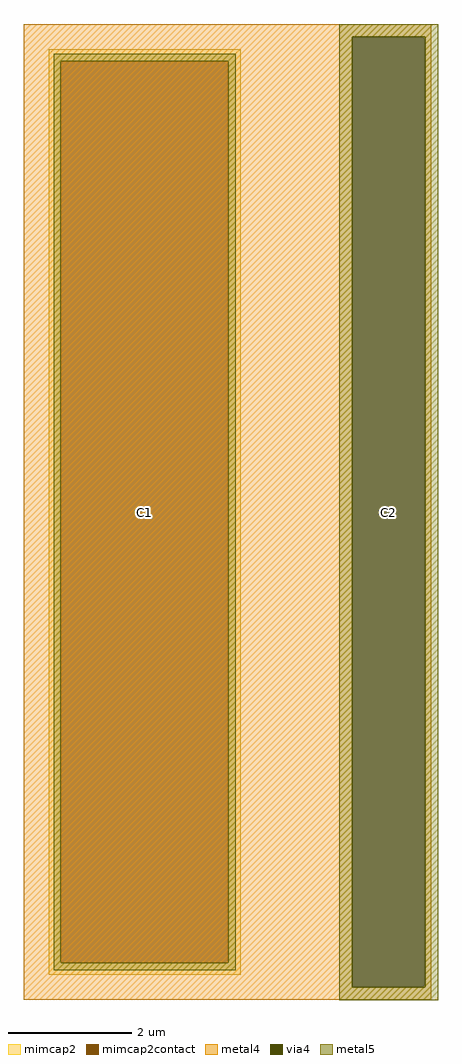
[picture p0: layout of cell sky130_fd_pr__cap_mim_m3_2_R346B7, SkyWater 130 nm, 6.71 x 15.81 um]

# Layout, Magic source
magic
tech sky130A
magscale 1 2
<< metal4 >>
rect -660 1539 660 1580
rect -660 -1539 404 1539
rect 640 -1539 660 1539
rect -660 -1580 660 -1539
<< via4 >>
rect 404 -1539 640 1539
<< mimcap2 >>
rect -580 1460 42 1500
rect -580 -1460 -540 1460
rect 2 -1460 42 1460
rect -580 -1500 42 -1460
<< mimcap2contact >>
rect -540 -1460 2 1460
<< metal5 >>
rect 362 1539 682 1581
rect -564 1460 26 1484
rect -564 -1460 -540 1460
rect 2 -1460 26 1460
rect -564 -1484 26 -1460
rect 362 -1539 404 1539
rect 640 -1539 682 1539
rect 362 -1581 682 -1539
<< labels >>
rlabel via4 522 0 522 0 0 C2
port 3 nsew
rlabel mimcap2contact -269 0 -269 0 0 C1
port 4 nsew
<< properties >>
string FIXED_BBOX -660 -1580 122 1580
string gencell sky130_fd_pr__cap_mim_m3_2
string library sky130
string parameters w 3.11 l 15.0 val 100.181 carea 2.00 cperi 0.19 class capacitor nx 1 ny 1 dummy 0 square 0 lmin 2.00 wmin 2.00 lmax 30.0 wmax 30.0 dc 0 bconnect 1 tconnect 1 ccov 100 doports 1
<< end >>
